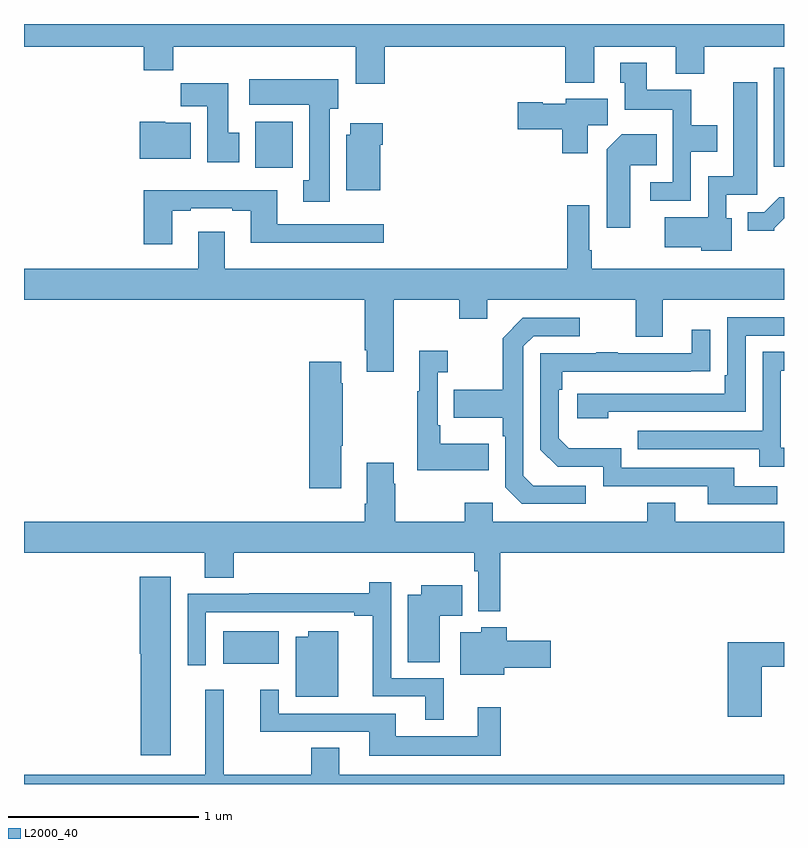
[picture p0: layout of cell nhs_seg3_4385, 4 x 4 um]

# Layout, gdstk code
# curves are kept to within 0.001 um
import gdstk
lib = gdstk.Library(unit=1e-6, precision=1e-09)
def R(c, l, rs):  # rectangles x0, y0, x1, y1
    for r in rs: c.add(gdstk.rectangle(r[:2], r[2:], *l))
def P(c, l, *ps):  # polygons
    for p in ps: c.add(gdstk.Polygon(p, *l))
L2000_40 = (2000, 40)

nhs_seg3_4385 = lib.new_cell('nhs_seg3_4385')
R(nhs_seg3_4385, L2000_40, [(346.049,667.034,346.342,667.204), (346.217,669.644,346.414,669.886), (348.947,669.648,349,670.171)])
P(nhs_seg3_4385, L2000_40, [(346.898,670.28),(347.849,670.28),(347.849,670.091),(348.001,670.091),(348.001,670.28),(348.431,670.28),(348.431,670.139),(348.579,670.139),(348.579,670.28),(349,670.28),(349,670.4),(345,670.4),(345,670.28),(345.629,670.28),(345.629,670.156),(345.785,670.156),(345.785,670.28),(346.745,670.28),(346.745,670.086),(346.898,670.086)],
  [(348.51,669.728),(348.649,669.728),(348.649,669.868),(348.513,669.868),(348.513,670.054),(348.277,670.054),(348.277,670.195),(348.137,670.195),(348.137,670.092),(348.161,670.092),(348.161,669.95),(348.414,669.95),(348.414,669.567),(348.297,669.567),(348.297,669.471),(348.51,669.471)],
  [(346.609,669.954),(346.654,669.954),(346.654,670.108),(346.185,670.108),(346.185,669.974),(346.502,669.974),(346.502,669.578),(346.469,669.578),(346.469,669.465),(346.609,669.465)],
  [(348.724,669.378),(348.696,669.378),(348.696,669.501),(348.859,669.501),(348.859,670.093),(348.734,670.093),(348.734,669.598),(348.6,669.598),(348.6,669.382),(348.372,669.382),(348.372,669.224),(348.564,669.224),(348.564,669.206),(348.724,669.206)],
  [(346.132,669.828),(346.075,669.828),(346.075,670.087),(345.826,670.087),(345.826,669.968),(345.965,669.968),(345.965,669.672),(346.132,669.672)],
  [(347.968,669.868),(348.073,669.868),(348.073,670.006),(347.85,670.006),(347.85,669.979),(347.73,669.979),(347.73,669.987),(347.598,669.987),(347.598,669.845),(347.834,669.845),(347.834,669.72),(347.968,669.72)],
  [(345.877,669.88),(345.744,669.88),(345.744,669.886),(345.608,669.886),(345.608,669.692),(345.877,669.692)],
  [(346.876,669.764),(346.889,669.764),(346.889,669.877),(346.718,669.877),(346.718,669.816),(346.697,669.816),(346.697,669.524),(346.876,669.524)],
  [(348.19,669.656),(348.329,669.656),(348.329,669.82),(348.146,669.82),(348.068,669.742),(348.068,669.327),(348.19,669.327)],
  [(345.781,669.417),(345.877,669.417),(345.877,669.429),(346.097,669.429),(346.097,669.417),(346.193,669.417),(346.193,669.248),(346.894,669.248),(346.894,669.345),(346.333,669.345),(346.333,669.526),(345.629,669.526),(345.629,669.24),(345.781,669.24)],
  [(348.948,669.326),(349,669.378),(349,669.487),(348.976,669.487),(348.897,669.408),(348.809,669.408),(348.809,669.311),(348.948,669.311)],
  [(346.793,668.683),(346.805,668.683),(346.805,668.571),(346.945,668.571),(346.945,668.948),(347.29,668.948),(347.29,668.849),(347.437,668.849),(347.437,668.948),(348.221,668.948),(348.221,668.754),(348.361,668.754),(348.361,668.948),(349,668.948),(349,669.112),(347.989,669.112),(347.989,669.208),(347.976,669.208),(347.976,669.445),(347.86,669.445),(347.86,669.112),(346.057,669.112),(346.057,669.307),(345.917,669.307),(345.917,669.112),(345,669.112),(345,668.948),(346.793,668.948)],
  [(348.074,668.358),(348.798,668.358),(348.798,668.76),(349,668.76),(349,668.856),(348.702,668.856),(348.702,668.551),(348.689,668.551),(348.689,668.454),(347.913,668.454),(347.913,668.324),(348.074,668.324)],
  [(347.956,667.971),(347.679,667.971),(347.628,668.022),(347.628,668.703),(347.682,668.757),(347.926,668.757),(347.926,668.853),(347.625,668.853),(347.52,668.747),(347.52,668.475),(347.263,668.475),(347.263,668.327),(347.52,668.327),(347.52,668.231),(347.532,668.231),(347.532,667.962),(347.619,667.875),(347.956,667.875)],
  [(348.964,667.968),(348.739,667.968),(348.739,668.064),(348.144,668.064),(348.144,668.167),(347.867,668.167),(347.814,668.22),(347.814,668.474),(347.834,668.474),(347.834,668.571),(348.611,668.572),(348.611,668.791),(348.515,668.791),(348.515,668.667),(348.125,668.667),(348.125,668.672),(348.013,668.672),(348.013,668.667),(347.718,668.667),(347.718,668.16),(347.808,668.07),(348.048,668.07),(348.048,667.968),(348.599,667.968),(348.599,667.872),(348.964,667.872)],
  [(347.447,668.191),(347.191,668.191),(347.191,668.287),(347.178,668.287),(347.178,668.567),(347.23,668.567),(347.23,668.68),(347.081,668.68),(347.081,668.467),(347.07,668.467),(347.07,668.051),(347.447,668.051)],
  [(349,668.169),(348.984,668.169),(348.984,668.574),(349,668.574),(349,668.675),(348.888,668.675),(348.888,668.259),(348.229,668.259),(348.229,668.163),(348.869,668.163),(348.869,668.069),(349,668.069)],
  [(346.669,668.179),(346.677,668.179),(346.677,668.51),(346.669,668.51),(346.669,668.623),(346.502,668.623),(346.502,667.956),(346.669,667.956)],
  [(347.507,667.616),(349,667.616),(349,667.78),(348.427,667.78),(348.427,667.879),(348.28,667.879),(348.28,667.78),(347.466,667.78),(347.466,667.879),(347.32,667.879),(347.32,667.78),(346.953,667.78),(346.953,667.979),(346.945,667.979),(346.945,668.092),(346.805,668.092),(346.805,667.876),(346.793,667.876),(346.793,667.78),(345,667.78),(345,667.616),(345.95,667.616),(345.95,667.486),(346.103,667.486),(346.103,667.616),(347.371,667.616),(347.371,667.52),(347.391,667.52),(347.391,667.31),(347.507,667.31)],
  [(345.772,667.492),(345.608,667.492),(345.608,667.086),(345.614,667.086),(345.614,666.552),(345.772,666.552)],
  [(347.209,666.957),(346.932,666.957),(346.932,667.462),(346.816,667.462),(346.816,667.403),(346.186,667.403),(346.186,667.401),(345.861,667.401),(345.861,667.026),(345.957,667.026),(345.957,667.305),(346.739,667.305),(346.739,667.285),(346.835,667.285),(346.835,666.861),(347.111,666.861),(347.111,666.737),(347.209,666.737)],
  [(347.188,667.286),(347.306,667.286),(347.306,667.447),(347.09,667.447),(347.09,667.396),(347.021,667.396),(347.021,667.042),(347.188,667.042)],
  [(347.527,667.013),(347.773,667.013),(347.773,667.155),(347.54,667.155),(347.54,667.225),(347.406,667.225),(347.406,667.198),(347.297,667.198),(347.297,666.974),(347.527,666.974)],
  [(346.654,667.204),(346.496,667.204),(346.496,667.174),(346.43,667.174),(346.43,666.86),(346.654,666.86)],
  [(348.882,667.018),(349,667.018),(349,667.147),(348.704,667.147),(348.704,666.753),(348.882,666.753)],
  [(349,666.448),(346.66,666.448),(346.66,666.59),(346.513,666.59),(346.513,666.448),(346.052,666.448),(346.052,666.895),(345.953,666.895),(345.953,666.448),(345,666.448),(345,666.4),(349,666.4)],
  [(347.509,666.805),(347.387,666.805),(347.387,666.652),(346.957,666.652),(346.957,666.771),(346.341,666.771),(346.341,666.895),(346.244,666.895),(346.244,666.675),(346.817,666.675),(346.817,666.548),(347.509,666.548)])

lib.write_gds('nhs_seg3_4385.gds')
